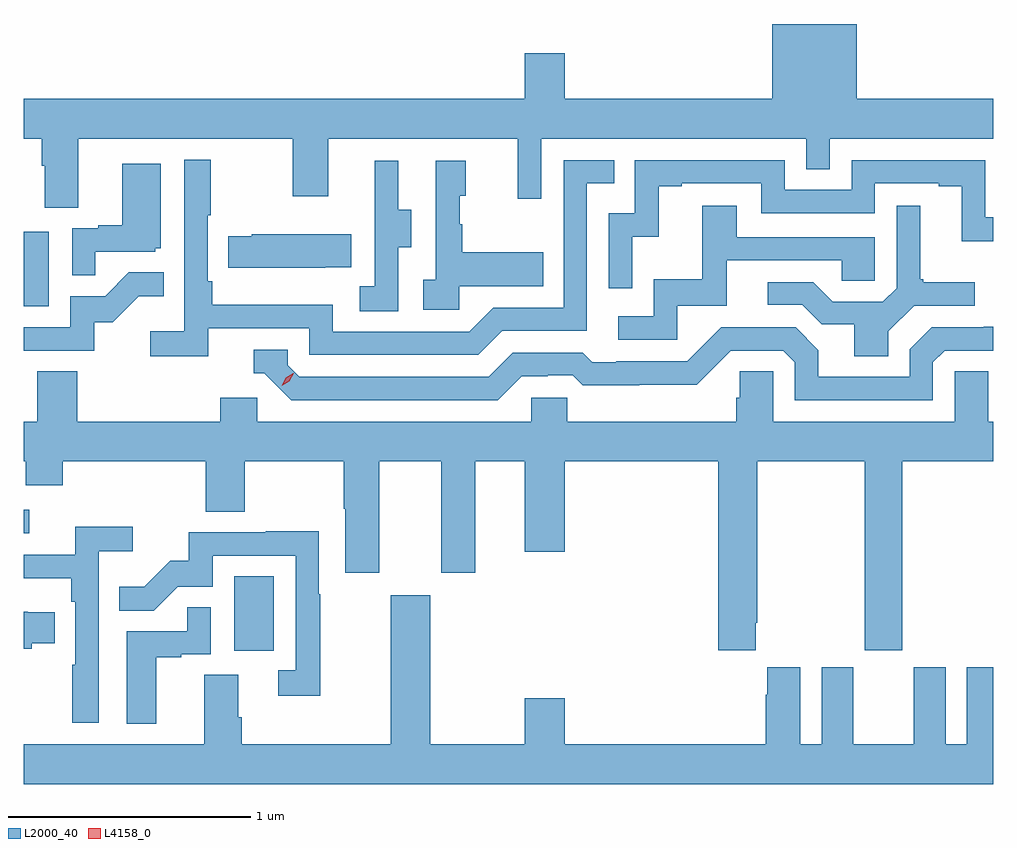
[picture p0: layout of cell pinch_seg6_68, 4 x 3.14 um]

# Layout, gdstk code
import gdstk
lib = gdstk.Library(unit=1e-6, precision=1e-09)
def R(c, l, rs):  # rectangles x0, y0, x1, y1
    for r in rs: c.add(gdstk.rectangle(r[:2], r[2:], *l))
def P(c, l, *ps):  # polygons
    for p in ps: c.add(gdstk.Polygon(p, *l))
L2000_40 = (2000, 40)
L4158_0 = (4158, 0)

pinch_seg6_68 = lib.new_cell('pinch_seg6_68')
R(pinch_seg6_68, L2000_40, [(895.076,926.574,895.24,926.881), (894.208,927.06,894.229,927.156), (894.208,927.996,894.31,928.303)])
P(pinch_seg6_68, L2000_40, [(894.433,928.688),(895.318,928.688),(895.318,928.449),(895.465,928.449),(895.465,928.688),(896.246,928.688),(896.246,928.44),(896.343,928.44),(896.343,928.688),(897.438,928.688),(897.438,928.561),(897.534,928.561),(897.534,928.688),(898.208,928.688),(898.208,928.852),(897.646,928.852),(897.646,929.161),(897.296,929.161),(897.296,928.852),(896.44,928.852),(896.44,929.041),(896.276,929.041),(896.276,928.852),(894.208,928.852),(894.208,928.688),(894.281,928.688),(894.281,928.576),(894.293,928.576),(894.293,928.402),(894.433,928.402)],
  [(894.968,927.906),(895.386,927.906),(895.386,927.795),(896.083,927.795),(896.182,927.894),(896.532,927.894),(896.532,928.503),(896.645,928.503),(896.645,928.599),(896.436,928.599),(896.436,927.99),(896.145,927.99),(896.046,927.891),(895.482,927.891),(895.482,928.003),(894.986,928.003),(894.986,928.099),(894.966,928.099),(894.966,928.372),(894.979,928.372),(894.979,928.6),(894.87,928.6),(894.87,927.892),(894.729,927.892),(894.729,927.79),(894.968,927.79)],
  [(896.718,928.283),(896.828,928.283),(896.828,928.491),(896.923,928.491),(896.923,928.503),(897.252,928.503),(897.252,928.38),(897.72,928.38),(897.72,928.503),(897.983,928.503),(897.983,928.491),(898.079,928.491),(898.079,928.265),(898.208,928.265),(898.208,928.363),(898.176,928.363),(898.176,928.599),(897.624,928.599),(897.624,928.476),(897.348,928.476),(897.348,928.599),(896.73,928.599),(896.73,928.38),(896.622,928.38),(896.622,928.071),(896.718,928.071)],
  [(896.004,928.079),(896.351,928.079),(896.351,928.219),(896.017,928.219),(896.017,928.334),(896.007,928.334),(896.007,928.452),(896.032,928.452),(896.032,928.597),(895.908,928.597),(895.908,928.106),(895.857,928.106),(895.857,927.981),(896.004,927.981)],
  [(895.752,928.24),(895.807,928.24),(895.807,928.395),(895.753,928.395),(895.753,928.597),(895.655,928.597),(895.655,928.383),(895.656,928.383),(895.656,928.079),(895.593,928.079),(895.593,927.976),(895.752,927.976)],
  [(894.503,928.221),(894.75,928.221),(894.75,928.236),(894.772,928.236),(894.772,928.585),(894.614,928.585),(894.614,928.33),(894.515,928.33),(894.515,928.317),(894.408,928.317),(894.408,928.123),(894.503,928.123)],
  [(897.775,927.892),(897.882,927.999),(898.132,927.999),(898.132,928.096),(897.919,928.096),(897.919,928.108),(897.907,928.108),(897.907,928.411),(897.81,928.411),(897.81,928.071),(897.753,928.014),(897.547,928.014),(897.466,928.095),(897.279,928.095),(897.279,928.002),(897.42,928.002),(897.5,927.922),(897.635,927.922),(897.635,927.79),(897.775,927.79)],
  [(896.904,927.999),(897.109,927.999),(897.109,928.185),(897.583,928.185),(897.583,928.101),(897.72,928.101),(897.72,928.281),(897.151,928.281),(897.151,928.411),(897.007,928.411),(897.007,928.108),(896.808,928.108),(896.808,927.954),(896.661,927.954),(896.661,927.858),(896.904,927.858)],
  [(895.451,928.157),(895.559,928.157),(895.559,928.294),(895.149,928.294),(895.149,928.284),(895.051,928.284),(895.051,928.154),(895.451,928.154)],
  [(894.498,927.93),(894.574,927.93),(894.681,928.037),(894.785,928.037),(894.785,928.136),(894.641,928.136),(894.543,928.038),(894.399,928.038),(894.399,927.909),(894.208,927.909),(894.208,927.813),(894.498,927.813)],
  [(896.263,927.708),(896.37,927.708),(896.37,927.711),(896.473,927.711),(896.515,927.669),(896.748,927.669),(896.748,927.671),(896.984,927.671),(897.126,927.813),(897.342,927.813),(897.39,927.765),(897.39,927.609),(897.96,927.609),(897.96,927.765),(898.008,927.813),(898.208,927.813),(898.208,927.911),(898.17,927.911),(898.17,927.909),(897.954,927.909),(897.864,927.819),(897.864,927.705),(897.487,927.705),(897.487,927.815),(897.393,927.909),(897.087,927.909),(896.946,927.768),(896.653,927.768),(896.653,927.765),(896.554,927.765),(896.515,927.804),(896.226,927.804),(896.127,927.705),(895.344,927.705),(895.296,927.753),(895.296,927.816),(895.157,927.816),(895.157,927.72),(895.2,927.72),(895.311,927.609),(896.164,927.609)],
  [(897.229,926.689),(897.234,926.689),(897.234,927.356),(897.679,927.356),(897.679,926.577),(897.834,926.577),(897.834,927.356),(898.208,927.356),(898.208,927.52),(898.189,927.52),(898.189,927.728),(898.05,927.728),(898.05,927.52),(897.3,927.52),(897.3,927.728),(897.163,927.728),(897.163,927.618),(897.149,927.618),(897.149,927.52),(896.451,927.52),(896.451,927.618),(896.301,927.618),(896.301,927.52),(895.17,927.52),(895.17,927.618),(895.019,927.618),(895.019,927.52),(894.428,927.52),(894.428,927.728),(894.263,927.728),(894.263,927.52),(894.208,927.52),(894.208,927.356),(894.216,927.356),(894.216,927.258),(894.368,927.258),(894.368,927.356),(894.959,927.356),(894.959,927.148),(895.119,927.148),(895.119,927.356),(895.528,927.356),(895.528,927.16),(895.535,927.16),(895.535,926.895),(895.675,926.895),(895.675,927.356),(895.931,927.356),(895.931,926.895),(896.071,926.895),(896.071,927.356),(896.276,927.356),(896.276,926.982),(896.44,926.982),(896.44,927.356),(897.074,927.356),(897.074,926.577),(897.229,926.577)],
  [(894.516,926.984),(894.658,926.984),(894.658,927.086),(894.419,927.086),(894.419,926.97),(894.208,926.97),(894.208,926.873),(894.403,926.873),(894.403,926.777),(894.42,926.777),(894.42,926.516),(894.408,926.516),(894.408,926.277),(894.516,926.277)],
  [(895.43,926.807),(895.425,926.807),(895.425,927.068),(895.207,927.068),(895.207,927.063),(894.889,927.063),(894.889,926.946),(894.812,926.946),(894.705,926.839),(894.601,926.839),(894.601,926.74),(894.744,926.74),(894.842,926.838),(894.987,926.838),(894.987,926.967),(895.329,926.967),(895.329,926.493),(895.257,926.493),(895.257,926.388),(895.43,926.388)],
  [(898.208,926.506),(898.1,926.506),(898.1,926.188),(898.012,926.188),(898.012,926.506),(897.881,926.506),(897.881,926.188),(897.631,926.188),(897.631,926.506),(897.5,926.506),(897.5,926.188),(897.412,926.188),(897.412,926.506),(897.275,926.506),(897.275,926.393),(897.269,926.393),(897.269,926.188),(896.44,926.188),(896.44,926.377),(896.276,926.377),(896.276,926.188),(895.885,926.188),(895.885,926.803),(895.721,926.803),(895.721,926.188),(895.106,926.188),(895.106,926.3),(895.093,926.3),(895.093,926.474),(894.953,926.474),(894.953,926.188),(894.208,926.188),(894.208,926.024),(898.208,926.024)],
  [(894.754,926.547),(894.857,926.547),(894.857,926.559),(894.978,926.559),(894.978,926.753),(894.883,926.753),(894.883,926.655),(894.632,926.655),(894.632,926.273),(894.754,926.273)],
  [(894.241,926.605),(894.335,926.605),(894.335,926.733),(894.224,926.733),(894.224,926.734),(894.208,926.734),(894.208,926.582),(894.241,926.582)])
P(pinch_seg6_68, L4158_0, [(895.273,927.667),(895.273,927.667),(895.289,927.7),(895.32,927.719),(895.321,927.719),(895.321,927.719),(895.304,927.686),(895.273,927.667)])

lib.write_gds('pinch_seg6_68.gds')
